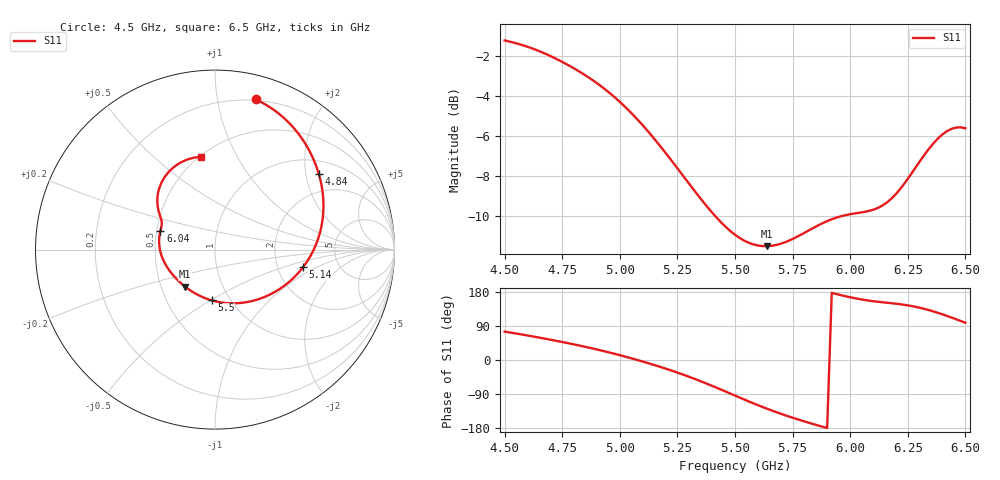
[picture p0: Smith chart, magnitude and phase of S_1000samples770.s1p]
! TOUCHSTONE file generated by CST MICROWAVE STUDIO
! Date and time: Sat Oct 29 07:59:38 2022
! Project name: L.cst
! Parameters = {Di=1.27; Epsilon_r=1.56; InnerDiameter=1.27; Length=2; Lf=10; Lg=60; OuterConductorThickness=0.2921; OuterDiameter=3.6; Wf=3; Wp=41.2; de=1.5; df=6.8; g=0.8; gx=2.57432; gy=2.43395; h=2.34; hf=1.524; px=12.8406; py=12.0349; w=9.7; wx=10.2662; wy=9.60096}
! Header version: 2018
! Port assignment regex: !\s*Touchstone port\s*([0-9]+)\s*=\s*(CST MWS port|CST DS port)\s*([0-9]+|Zmin|Zmax)\s*\(\"(.*)\"\)(\s*mode\s*([0-9]+))?.*
! Touchstone port assignment:
! Touchstone port 1 = CST MWS port 1 ("")
# GHz S DB R 50
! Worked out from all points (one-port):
!   101 points, 4.5 GHz to 6.5 GHz, reference 50 ohm
!   lowest |S11| = -11.5 dB at 5.64 GHz (marker M1), VSWR 1.72, Z = 33.1 - j14.7 ohm
!   |S11| at or under -10 dB: 5.413 GHz to 5.97 GHz (557.9 MHz wide, 9.8 % of centre)
!   S11 on the Smith chart (normalised r, x): 4.5 GHz: 0.19, +1.29; 4.84 GHz: 1.37, +2.37; 5.14 GHz: 2.78, -0.73; 5.5 GHz: 0.82, -0.51; 6.04 GHz: 0.52, +0.12; 6.5 GHz: 0.51, +0.73
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4.5  -1.24 74.8
4.56  -1.41 68.9
4.62  -1.64 62.5
4.7  -2.02 53.4
4.76  -2.37 46.3
4.84  -2.90 36.1
4.92  -3.54 24.9
5  -4.31 12.7
5.06  -4.99 2.8
5.14  -6.02 -11.4
5.2  -6.88 -23.0
5.26  -7.78 -35.4
5.32  -8.69 -48.7
5.38  -9.56 -63.1
5.44  -10.34 -78.3
5.5  -10.96 -93.9
5.58  -11.44 -114.4
5.64  -11.53 -128.8
5.76  -11.11 -154.2
5.88  -10.38 -176.1
6  -9.93 165.6
6.04  -9.85 160.8
6.16  -9.34 151.1
6.26  -7.99 143.2
6.32  -6.99 135.3
6.38  -6.15 124.6
6.44  -5.66 111.9
6.5  -5.63 98.4
